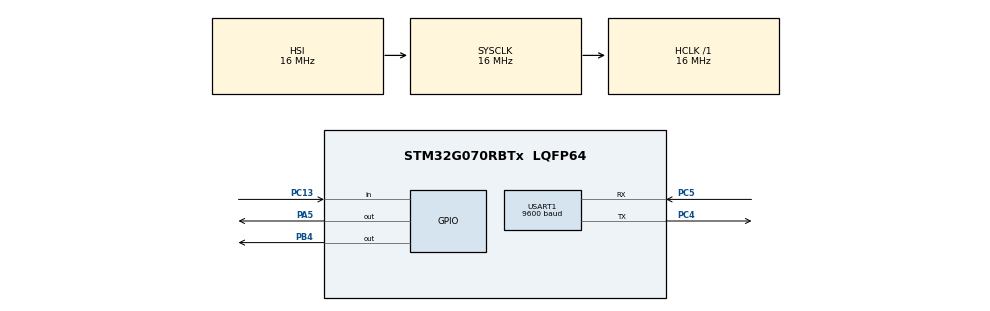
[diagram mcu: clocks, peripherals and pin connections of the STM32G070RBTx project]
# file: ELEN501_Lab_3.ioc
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Mcu.Family=STM32G0
Mcu.Name=STM32G070RBTx
Mcu.Package=LQFP64
NVIC.USART1_IRQn=true\:0\:0\:false\:false\:true\:true\:true
PA5.Signal=GPIO_Output
PB4.Signal=GPIO_Output
PC13.Signal=GPIO_Input
PC4.Mode=Asynchronous
PC4.Signal=USART1_TX
PC5.Mode=Asynchronous
PC5.Signal=USART1_RX
ProjectManager.HeapSize=0x200
ProjectManager.StackSize=0x400
ProjectManager.TargetToolchain=EWARM V8.32
RCC.AHBFreq_Value=16000000
RCC.CortexFreq_Value=16000000
RCC.EXTERNAL_CLOCK_VALUE=48000
RCC.HCLKFreq_Value=16000000
RCC.HSE_VALUE=8000000
RCC.HSI_VALUE=16000000
RCC.LSE_VALUE=32768
RCC.SYSCLKFreq_VALUE=16000000
RCC.VCOOutputFreq_Value=128000000
USART1.BaudRate=9600
USART1.VirtualMode-Asynchronous=VM_ASYNC
VP_SYS_VS_DBSignals.Mode=DisableDeadBatterySignals
board=custom

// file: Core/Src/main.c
/* USER CODE BEGIN Header */
/**
  ******************************************************************************
  * @file           : main.c
  * @brief          : Main program body
  ******************************************************************************
  * @attention
  *
  * <h2><center>&copy; Copyright (c) 2021 STMicroelectronics.
  * All rights reserved.</center></h2>
  *
  * This software component is licensed by ST under BSD 3-Clause license,
  * the "License"; You may not use this file except in compliance with the
  * License. You may obtain a copy of the License at:
  *                        opensource.org/licenses/BSD-3-Clause
  *
  ******************************************************************************
  */
/* USER CODE END Header */
#include "main.h"

/* USER CODE BEGIN Includes */
#include "project.h"
#include "serial.h"
#include "serial_user.h"
#include "stm32g0xx_ll_usart.h"
#include "ASCII_numbers.h"

/* USER CODE END Includes */

UART_HandleTypeDef huart1;

/* USER CODE BEGIN PV */
// scheduler stuff
extern uint8_t ten_mS_Flag;
extern uint8_t twentyfive_mS_Flag;
extern uint8_t hundred_mS_Flag;
extern uint8_t one_S_Flag;

// UI
uint8_t flashLED = false;
uint8_t buttonPushed = false;
uint16_t flashDelay = 1000;
uint16_t flashDelaySeed = 1000;
uint8_t flashAtSpeed = false;
uint16_t number = 43;
uint8_t errcode = 0;

// Comm interface
extern uint8_t processPacket;

// system variables
volatile uint16_t serialValue = 23;

/* USER CODE END PV */

void SystemClock_Config(void);
static void MX_GPIO_Init(void);
static void MX_USART1_UART_Init(void);

int main(void)
{

  /* MCU Configuration--------------------------------------------------------*/

  /* Reset of all peripherals, Initializes the Flash interface and the Systick. */
  HAL_Init();

  /* Configure the system clock */
  SystemClock_Config();

  /* Initialize all configured peripherals */
  MX_GPIO_Init();
  MX_USART1_UART_Init();
  /* USER CODE BEGIN 2 */

  LL_USART_EnableIT_RXNE_RXFNE(USART1);

  SendString("\r\nBongiorno!\r\n", 14, StripZeros, AddCRLF);

// **** Code testing
//  char numstring[8] = "x3456";
//
//  errcode = ConvertASCII2UINT16(&numstring[1], 4, '\0', &number);
// **** end code testing

  /* USER CODE END 2 */

  /* Infinite loop */
  /* USER CODE BEGIN WHILE */
  while (1)
  {
    //---------------------------------
    // 10mS Tasks
    if (ten_mS_Flag) {
      ten_mS_Flag = false;

      if (flashAtSpeed == true) {
        if (--flashDelay == 0) {
          HAL_GPIO_TogglePin(BOARD_MOUNTED_LED);
          flashDelay = flashDelaySeed;
        }
      }
}  // end of 10mS Tasks
    //---------------------------------

    //---------------------------------
    // 25mS Tasks
    if (twentyfive_mS_Flag) {
      twentyfive_mS_Flag = false;

    }  // end of 25mS Tasks
    //---------------------------------

    //---------------------------------
    // 100mS Tasks
    if (hundred_mS_Flag) {
      hundred_mS_Flag = false;

      if (HAL_GPIO_ReadPin(BOARD_MOUNTED_SWITCH) == false) {
        buttonPushed = true;    // note: there is no debouncing here (although it is a good idea)
                                // because once the "low" is detected it's locked in and only released
                                // by the processing
                                // (The reason to add it would be if the bouncing was longer than it took
                                // to respond to the press)
      }

    }  // end of 100mS Tasks
    //---------------------------------

    //---------------------------------
    // 1 Sec Tasks
    if (one_S_Flag) {
      one_S_Flag = false;

      if (flashLED == true) {
        HAL_GPIO_TogglePin(BOARD_MOUNTED_LED);
      }

    } // end of 1Sec Tasks
    //---------------------------------

    //---------------------------------
    // Every time through the loop
    if (nextSerialRxIn != nextSerialRx2Proc) {
      ProcessReceiveBuffer();
    }

    if (processPacket == true) {
      processPacket = false;

      ProcessPacket();
    }
    // end Every time through the loop
    //---------------------------------

    /* USER CODE END WHILE */

  }
}

void SystemClock_Config(void)
{
  RCC_OscInitTypeDef RCC_OscInitStruct = {0};
  RCC_ClkInitTypeDef RCC_ClkInitStruct = {0};
  RCC_PeriphCLKInitTypeDef PeriphClkInit = {0};

  /** Configure the main internal regulator output voltage
  */
  HAL_PWREx_ControlVoltageScaling(PWR_REGULATOR_VOLTAGE_SCALE1);
  /** Initializes the RCC Oscillators according to the specified parameters
  * in the RCC_OscInitTypeDef structure.
  */
  RCC_OscInitStruct.OscillatorType = RCC_OSCILLATORTYPE_HSI;
  RCC_OscInitStruct.HSIState = RCC_HSI_ON;
  RCC_OscInitStruct.HSIDiv = RCC_HSI_DIV1;
  RCC_OscInitStruct.HSICalibrationValue = RCC_HSICALIBRATION_DEFAULT;
  RCC_OscInitStruct.PLL.PLLState = RCC_PLL_NONE;
  if (HAL_RCC_OscConfig(&RCC_OscInitStruct) != HAL_OK)
  {
    Error_Handler();
  }
  /** Initializes the CPU, AHB and APB buses clocks
  */
  RCC_ClkInitStruct.ClockType = RCC_CLOCKTYPE_HCLK|RCC_CLOCKTYPE_SYSCLK
                              |RCC_CLOCKTYPE_PCLK1;
  RCC_ClkInitStruct.SYSCLKSource = RCC_SYSCLKSOURCE_HSI;
  RCC_ClkInitStruct.AHBCLKDivider = RCC_SYSCLK_DIV1;
  RCC_ClkInitStruct.APB1CLKDivider = RCC_HCLK_DIV1;

  if (HAL_RCC_ClockConfig(&RCC_ClkInitStruct, FLASH_LATENCY_0) != HAL_OK)
  {
    Error_Handler();
  }
  /** Initializes the peripherals clocks
  */
  PeriphClkInit.PeriphClockSelection = RCC_PERIPHCLK_USART1;
  PeriphClkInit.Usart1ClockSelection = RCC_USART1CLKSOURCE_PCLK1;
  if (HAL_RCCEx_PeriphCLKConfig(&PeriphClkInit) != HAL_OK)
  {
    Error_Handler();
  }
}

static void MX_USART1_UART_Init(void)
{

  huart1.Instance = USART1;
  huart1.Init.BaudRate = 9600;
  huart1.Init.WordLength = UART_WORDLENGTH_8B;
  huart1.Init.StopBits = UART_STOPBITS_1;
  huart1.Init.Parity = UART_PARITY_NONE;
  huart1.Init.Mode = UART_MODE_TX_RX;
  huart1.Init.HwFlowCtl = UART_HWCONTROL_NONE;
  huart1.Init.OverSampling = UART_OVERSAMPLING_16;
  huart1.Init.OneBitSampling = UART_ONE_BIT_SAMPLE_DISABLE;
  huart1.Init.ClockPrescaler = UART_PRESCALER_DIV1;
  huart1.AdvancedInit.AdvFeatureInit = UART_ADVFEATURE_NO_INIT;
  if (HAL_UART_Init(&huart1) != HAL_OK)
  {
    Error_Handler();
  }
  if (HAL_UARTEx_SetTxFifoThreshold(&huart1, UART_TXFIFO_THRESHOLD_1_8) != HAL_OK)
  {
    Error_Handler();
  }
  if (HAL_UARTEx_SetRxFifoThreshold(&huart1, UART_RXFIFO_THRESHOLD_1_8) != HAL_OK)
  {
    Error_Handler();
  }
  if (HAL_UARTEx_DisableFifoMode(&huart1) != HAL_OK)
  {
    Error_Handler();
  }

}

static void MX_GPIO_Init(void)
{
  GPIO_InitTypeDef GPIO_InitStruct = {0};

  /* GPIO Ports Clock Enable */
  __HAL_RCC_GPIOC_CLK_ENABLE();
  __HAL_RCC_GPIOA_CLK_ENABLE();
  __HAL_RCC_GPIOB_CLK_ENABLE();

  /*Configure GPIO pin Output Level */
  HAL_GPIO_WritePin(GPIOA, GPIO_PIN_5, GPIO_PIN_RESET);

  /*Configure GPIO pin Output Level */
  HAL_GPIO_WritePin(GPIOB, GPIO_PIN_4, GPIO_PIN_RESET);

  /*Configure GPIO pin : PC13 */
  GPIO_InitStruct.Pin = GPIO_PIN_13;
  GPIO_InitStruct.Mode = GPIO_MODE_INPUT;
  GPIO_InitStruct.Pull = GPIO_NOPULL;
  HAL_GPIO_Init(GPIOC, &GPIO_InitStruct);

  /*Configure GPIO pin : PA5 */
  GPIO_InitStruct.Pin = GPIO_PIN_5;
  GPIO_InitStruct.Mode = GPIO_MODE_OUTPUT_PP;
  GPIO_InitStruct.Pull = GPIO_NOPULL;
  GPIO_InitStruct.Speed = GPIO_SPEED_FREQ_LOW;
  HAL_GPIO_Init(GPIOA, &GPIO_InitStruct);

  /*Configure GPIO pin : PB4 */
  GPIO_InitStruct.Pin = GPIO_PIN_4;
  GPIO_InitStruct.Mode = GPIO_MODE_OUTPUT_PP;
  GPIO_InitStruct.Pull = GPIO_NOPULL;
  GPIO_InitStruct.Speed = GPIO_SPEED_FREQ_LOW;
  HAL_GPIO_Init(GPIOB, &GPIO_InitStruct);

}

void Error_Handler(void)
{
  __disable_irq();
  while (1)
  {
  }
}

/************************ (C) COPYRIGHT STMicroelectronics *****END OF FILE****/
